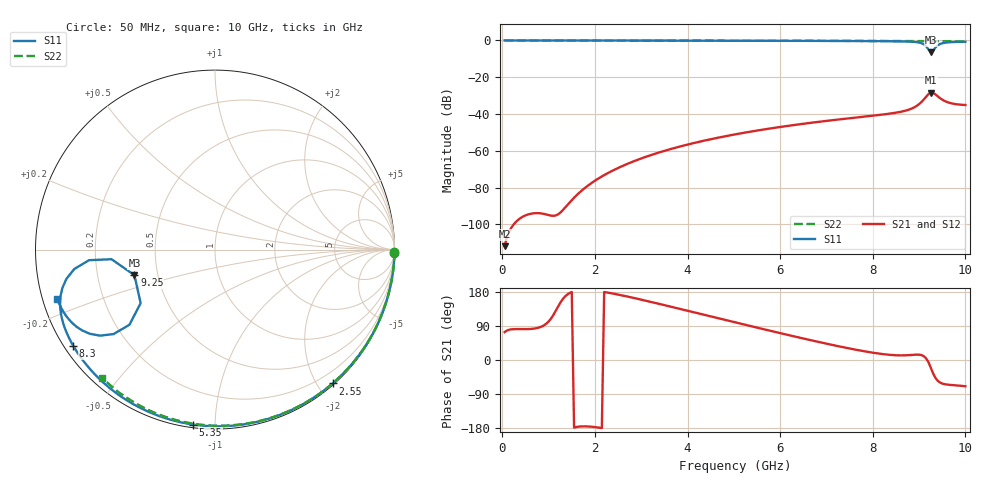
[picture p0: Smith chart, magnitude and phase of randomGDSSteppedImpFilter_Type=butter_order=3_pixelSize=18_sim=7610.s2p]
! freq	dB(S11)	phase(S11)	dB(S12)	phase(S12)
!  dB(S21)	phase(S21)	dB(S22)	phase(S22)
!S-par simulation data
#  GHz  S  DB  R 50
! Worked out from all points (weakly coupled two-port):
!   200 points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, 50 MHz to 10 GHz, reference 50 ohm
!   highest |S21| = -28.37 dB at 9.25 GHz (marker M1); lowest = -111.9 dB at 50 MHz (marker M2)
!   lowest |S11| = -6.5 dB at 9.25 GHz (marker M3), VSWR 2.78, Z = 18.4 - j6.72 ohm
!   |S11| at or under -10 dB: nowhere
!   |S22| runs from -0.4 to 0.0 dB; largest |S21 - S12| = 0
!   S11 on the Smith chart (normalised r, x): 50 MHz: open; 2.55 GHz: 0.02, -2.21; 5.35 GHz: 0.02, -0.88; 8.3 GHz: 0.03, -0.31; 9.25 GHz: 0.37, -0.13; 10 GHz: 0.04, -0.15
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0.05  -0.00 -1.0  -111.86 73.6  -111.86 73.6  -0.00 -0.8
0.85  -0.02 -16.6  -94.10 88.3  -94.10 88.3  -0.02 -12.8
1.75  -0.04 -33.8  -80.89 -175.1  -80.89 -175.1  -0.03 -26.2
2.55  -0.06 -48.7  -68.76 171.4  -68.76 171.4  -0.05 -37.8
3.4  -0.08 -64.0  -60.80 147.7  -60.80 147.7  -0.07 -49.9
4.15  -0.11 -77.1  -55.70 125.5  -55.70 125.5  -0.08 -60.2
5.05  -0.14 -92.2  -50.96 98.7  -50.96 98.7  -0.11 -72.2
5.35  -0.16 -97.1  -49.63 89.8  -49.63 89.8  -0.12 -76.1
6.7  -0.23 -118.9  -44.66 51.2  -44.66 51.2  -0.18 -93.1
8.3  -0.40 -145.8  -40.02 14.4  -40.02 14.4  -0.28 -112.1
8.35  -0.42 -146.8  -39.85 13.8  -39.85 13.8  -0.29 -112.6
8.75  -0.59 -156.1  -37.86 12.6  -37.86 12.6  -0.32 -117.2
9  -1.15 -165.9  -34.62 14.1  -34.62 14.1  -0.35 -120.1
9.1  -2.04 -172.2  -32.15 10.3  -32.15 10.3  -0.35 -121.2
9.15  -3.04 -175.2  -30.66 4.6  -30.66 4.6  -0.36 -121.8
9.2  -4.75 -174.7  -29.24 -5.3  -29.24 -5.3  -0.36 -122.3
9.25  -6.54 -162.4  -28.37 -19.5  -28.37 -19.5  -0.36 -122.9
9.3  -5.84 -144.2  -28.45 -34.6  -28.45 -34.6  -0.36 -123.5
9.35  -3.95 -138.7  -29.26 -46.6  -29.26 -46.6  -0.36 -124.1
9.45  -1.94 -143.2  -31.34 -59.3  -31.34 -59.3  -0.38 -125.2
9.65  -0.97 -152.8  -33.87 -65.5  -33.87 -65.5  -0.40 -127.5
10  -0.71 -162.5  -35.12 -69.3  -35.12 -69.3  -0.44 -131.4
